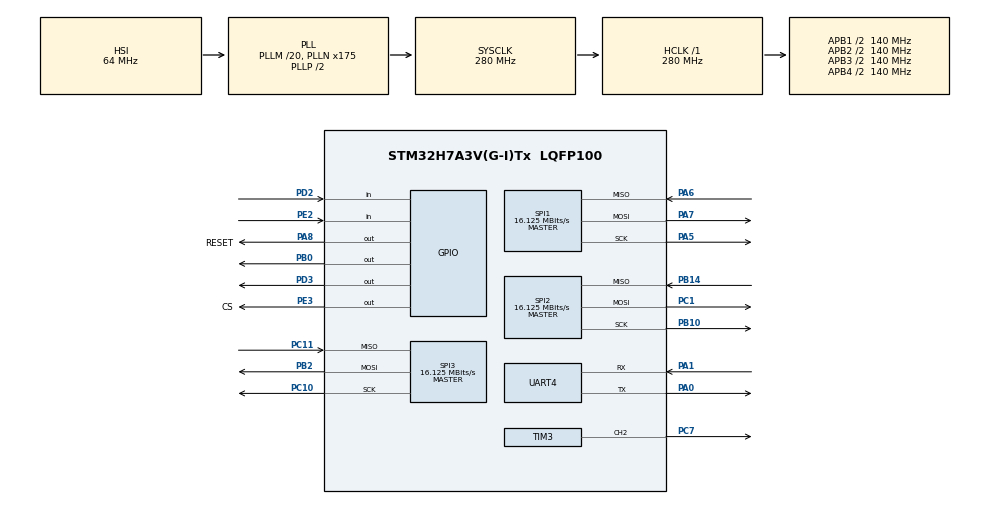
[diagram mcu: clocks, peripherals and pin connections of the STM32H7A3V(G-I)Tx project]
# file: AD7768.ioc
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Mcu.Family=STM32H7
Mcu.Name=STM32H7A3V(G-I)Tx
Mcu.Package=LQFP100
NVIC.PriorityGroup=NVIC_PRIORITYGROUP_4
PA0.Mode=Asynchronous
PA0.Signal=UART4_TX
PA1.Mode=Asynchronous
PA1.Signal=UART4_RX
PA5.Mode=Full_Duplex_Master
PA5.Signal=SPI1_SCK
PA6.Mode=Full_Duplex_Master
PA6.Signal=SPI1_MISO
PA7.Mode=Full_Duplex_Master
PA7.Signal=SPI1_MOSI
PA8.GPIO_Label=RESET
PA8.Signal=GPIO_Output
PB0.Signal=GPIO_Output
PB10.Mode=Full_Duplex_Master
PB10.Signal=SPI2_SCK
PB14.Mode=Full_Duplex_Master
PB14.Signal=SPI2_MISO
PB2.Mode=Full_Duplex_Master
PB2.Signal=SPI3_MOSI
PC1.Mode=Full_Duplex_Master
PC1.Signal=SPI2_MOSI
PC10.Mode=Full_Duplex_Master
PC10.Signal=SPI3_SCK
PC11.Mode=Full_Duplex_Master
PC11.Signal=SPI3_MISO
PC7.Signal=S_TIM3_CH2
PD2.GPIO_PuPd=GPIO_PULLUP
PD2.Signal=GPIO_Input
PD3.GPIO_PuPd=GPIO_PULLUP
PD3.GPIO_Speed=GPIO_SPEED_FREQ_HIGH
PD3.PinState=GPIO_PIN_SET
PD3.Signal=GPIO_Output
PE2.Signal=GPIO_Input
PE3.GPIO_Label=CS
PE3.Signal=GPIO_Output
ProjectManager.HeapSize=0x200
ProjectManager.StackSize=0x400
ProjectManager.TargetToolchain=STM32CubeIDE
RCC.ADCFreq_Value=129000000
RCC.APB1Freq_Value=140000000
RCC.APB2Freq_Value=140000000
RCC.APB3Freq_Value=140000000
RCC.APB4Freq_Value=140000000
RCC.CDPPRE=RCC_APB3_DIV2
RCC.CDPPRE1=RCC_APB1_DIV2
RCC.CDPPRE2=RCC_APB2_DIV2
RCC.CortexFreq_Value=280000000
RCC.DIVM1=20
RCC.DIVN1=175
RCC.HCLKFreq_Value=280000000
RCC.SPI123CLockSelection=RCC_SPI123CLKSOURCE_PLL2
RCC.SRDPPRE=RCC_APB4_DIV2
RCC.SYSCLKFreq_VALUE=280000000
RCC.SYSCLKSource=RCC_SYSCLKSOURCE_PLLCLK
RCC.USBFreq_Value=280000000
SH.S_TIM3_CH2.0=TIM3_CH2,PWM Generation2 CH2
SPI1.BaudRatePrescaler=SPI_BAUDRATEPRESCALER_8
SPI1.CLKPhase=SPI_PHASE_2EDGE
SPI1.CLKPolarity=SPI_POLARITY_HIGH
SPI1.CalculateBaudRate=16.125 MBits/s
SPI1.DataSize=SPI_DATASIZE_8BIT
SPI1.Direction=SPI_DIRECTION_2LINES
SPI1.Mode=SPI_MODE_MASTER
SPI1.VirtualType=VM_MASTER
SPI2.BaudRatePrescaler=SPI_BAUDRATEPRESCALER_8
SPI2.CLKPhase=SPI_PHASE_2EDGE
SPI2.CLKPolarity=SPI_POLARITY_HIGH
SPI2.CalculateBaudRate=16.125 MBits/s
SPI2.DataSize=SPI_DATASIZE_8BIT
SPI2.Direction=SPI_DIRECTION_2LINES
SPI2.Mode=SPI_MODE_MASTER
SPI2.NSSPMode=SPI_NSS_PULSE_DISABLE
SPI2.VirtualType=VM_MASTER
SPI3.BaudRatePrescaler=SPI_BAUDRATEPRESCALER_8
SPI3.CLKPhase=SPI_PHASE_2EDGE
SPI3.CLKPolarity=SPI_POLARITY_HIGH
SPI3.CalculateBaudRate=16.125 MBits/s
SPI3.DataSize=SPI_DATASIZE_8BIT
SPI3.Direction=SPI_DIRECTION_2LINES
SPI3.Mode=SPI_MODE_MASTER
SPI3.VirtualType=VM_MASTER
TIM3.AutoReloadPreload=TIM_AUTORELOAD_PRELOAD_ENABLE
TIM3.Channel-PWM\ Generation2\ CH2=TIM_CHANNEL_2
TIM3.Period=15
VP_TIM3_VS_ClockSourceINT.Mode=Internal
board=custom

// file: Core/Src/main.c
/* USER CODE BEGIN Header */
/**
 ******************************************************************************
 * @file           : main.c
 * @brief          : Main program body
 ******************************************************************************
 * @attention
 *
 * Copyright (c) 2024 STMicroelectronics.
 * All rights reserved.
 *
 * This software is licensed under terms that can be found in the LICENSE file
 * in the root directory of this software component.
 * If no LICENSE file comes with this software, it is provided AS-IS.
 *
 ******************************************************************************
 */
/* USER CODE END Header */
#include "main.h"

/* USER CODE BEGIN Includes */
#include "stm32h7xx_ll_spi.h"
/* USER CODE END Includes */

/* USER CODE BEGIN PD */
#define CS1_LOW 	(1 << 19)        	// port pin no.19 RESET
#define CS1_HIGH	(1 << 3)			// port pin no.3
#define REG_READ	0x40
#define REG_WRITE	0x00
#define SPI2_TXF	(SPI2->SR & (1<<1))
#define SPI2_RXF	(SPI2->SR & (1<<0))
#define ADC_DRDY	(GPIOE->IDR & (1<<2))

/* USER CODE END PD */

SPI_HandleTypeDef hspi1;
SPI_HandleTypeDef hspi2;
SPI_HandleTypeDef hspi3;

TIM_HandleTypeDef htim3;

UART_HandleTypeDef huart4;

/* USER CODE BEGIN PV */

SPI_HandleTypeDef *hspip1 = &hspi1;
SPI_HandleTypeDef *hspip2 = &hspi2;
SPI_HandleTypeDef *hspip3 = &hspi3;
uint8_t tx_data[4] = {0};
uint8_t rx_data[9] = {0};
uint32_t s_data[100]  = {0};
uint32_t tx = 0;
uint32_t rx = 0;

uint16_t read_intf = 0;
uint16_t pow_n_con = 0;
uint16_t cont_conv = 0;
uint16_t decimate = 0;
uint16_t scratch = 0;
uint16_t SPI_DIAG = 0;
uint32_t data_24 = 0;
uint16_t ADC_DIAG = 0;
uint16_t cntr = 0;

/* USER CODE END PV */

void SystemClock_Config(void);
void PeriphCommonClock_Config(void);
static void MX_GPIO_Init(void);
static void MX_SPI1_Init(void);
static void MX_SPI2_Init(void);
static void MX_TIM3_Init(void);
static void MX_UART4_Init(void);
static void MX_SPI3_Init(void);
/* USER CODE BEGIN PFP */

void SPI_rxtx(uint8_t* Txdata,uint8_t* Rxdata,uint16_t Size);
void SPI_TxRx1(const uint8_t *pTxData,uint8_t* Rxdata,uint8_t*  Size);
void SPI2_INIT(int len);
int8_t SPIM2_XFER(uint8_t *txb, uint8_t *rxb, int len);
void spi_tx_rx(SPI_HandleTypeDef *hspi,uint8_t *p8_t_data,uint8_t *p8_r_data,uint32_t u32_size);
void SPI_ll_init(void);
/* USER CODE END PFP */

int main(void)
{

  /* MCU Configuration--------------------------------------------------------*/

  /* Reset of all peripherals, Initializes the Flash interface and the Systick. */
  HAL_Init();

  /* Configure the system clock */
  SystemClock_Config();

/* Configure the peripherals common clocks */
  PeriphCommonClock_Config();

  /* Initialize all configured peripherals */
  MX_GPIO_Init();
  MX_SPI1_Init();
  MX_SPI2_Init();
  MX_TIM3_Init();
  MX_UART4_Init();
  MX_SPI3_Init();
  /* USER CODE BEGIN 2 */

//  SPI2_INIT(3);
   SPI_ll_init();
	/*** Timer 3 ch 2 --> 17 Mhz ***/
	//  TIM3->CCR2 = 8;
	//  HAL_TIM_PWM_Start(&htim3, TIM_CHANNEL_2);

	/** RESET **/
	HAL_GPIO_WritePin(GPIOD, GPIO_PIN_3, GPIO_PIN_SET);
//	  init_ad7768();

//  HAL_GPIO_WritePin(GPIOD, GPIO_PIN_3, GPIO_PIN_RESET);
//  		HAL_Delay(10);

  /* USER CODE END 2 */

  /* Infinite loop */
	while (1)
	{

    /* USER CODE BEGIN 3 */

/* RESET trigger register = 0x1D */
	tx_data[0] = 0x1D;      //for write  operation
	tx_data[1] = 0x80;		// default value
	GPIOE->BSRR |= CS1_LOW;
//	HAL_SPI_TransmitReceive(&hspi1, tx_data, rx_data, 2, HAL_MAX_DELAY);
	SPI_rxtx(tx_data, rx_data, 2);
	GPIOE->BSRR |= CS1_HIGH;

/* write interface format = 0x14*/
	tx_data[0] = 0x14;      //for write  operation
	tx_data[1] = 0x01;		// enable continuous read mode.
	GPIOE->BSRR |= CS1_LOW;
//	HAL_SPI_TransmitReceive(&hspi1, tx_data, rx_data, 2, HAL_MAX_DELAY);
	SPI_rxtx(tx_data, rx_data, 2);
	GPIOE->BSRR |= CS1_HIGH;

/* Power and clock register = 0x15 */
	tx_data[0] = 0x15;      //for write  operation
	tx_data[1] = 0x22;		// mclk/4,PWRMODE
	GPIOE->BSRR |= CS1_LOW;
//	HAL_SPI_TransmitReceive(&hspi1, tx_data, rx_data, 2, HAL_MAX_DELAY);
	SPI_rxtx(tx_data, rx_data, 2);
	GPIOE->BSRR |= CS1_HIGH;

/* Digital filter = 0x19*/
	tx_data[0] = 0x19;      //for write  operation
	tx_data[1] = 0x60;		// low FIR filter,X32
	GPIOE->BSRR |= CS1_LOW;
//	HAL_SPI_TransmitReceive(&hspi1, tx_data, rx_data, 2, HAL_MAX_DELAY);
	SPI_rxtx(tx_data, rx_data, 2);
	GPIOE->BSRR |= CS1_HIGH;

/******* SYNC PULSE *******/
	while(HAL_GPIO_ReadPin(GPIOD, GPIO_PIN_2) == 0);

//	HAL_GPIO_WritePin(GPIOD, GPIO_PIN_3, GPIO_PIN_SET);
//	HAL_Delay(1);
	HAL_GPIO_WritePin(GPIOD, GPIO_PIN_3, GPIO_PIN_RESET);
	HAL_Delay(1);
	HAL_GPIO_WritePin(GPIOD, GPIO_PIN_3, GPIO_PIN_SET);
	HAL_Delay(1);
	HAL_GPIO_WritePin(GPIOB, GPIO_PIN_0, GPIO_PIN_SET);
	HAL_Delay(10);
	HAL_UART_Transmit(&huart4, "\ninput = 1902.3\n\r", 20, HAL_MAX_DELAY);
//	HAL_SPI_TransmitReceive(&hspi1, tx_data, rx_data, 3, HAL_MAX_DELAY);
//	HAL_SPI_TransmitReceive(&hspi1, tx_data, rx_data, 3, HAL_MAX_DELAY);

while(1){

//	for(int i = 0; i < 100;i++)
//	{
		tx_data[0] = 0x00;      //for write  operation
		tx_data[1] = 0x00;
		tx_data[1] = 0x00;

		while(HAL_GPIO_ReadPin(GPIOD, GPIO_PIN_2) == 1){};
		{
			HAL_SPI_Abort(&hspi1);
			SPI_rxtx(tx_data, rx_data, 3);
//			data_24 = ((rx_data[0] << 16) |(rx_data[3] << 8) | rx_data[6]);
			data_24 = ((rx_data[0] << 16) |(rx_data[1] << 8) | rx_data[2]);
//			sprintf(s_data,"%d, ",data_24);
//			HAL_UART_Transmit(&huart4, s_data, 15, HAL_MAX_DELAY);

		}
//		sprintf(s_data,"%d, ",data_24);
//					HAL_UART_Transmit(&huart4, s_data, 15, HAL_MAX_DELAY);
//		HAL_Delay(50);
//	}
//for(;;);

//	uint8_t data = 0x00;
//	tx_data[0] = 0x00;      //for write  operation
//	tx_data[1] = 0x00;
//	tx_data[1] = 0x00;
//
//	while(HAL_GPIO_ReadPin(GPIOD, GPIO_PIN_2) == 1)
//	{
//		HAL_SPI_Abort(&hspi1);
//		SPI_rxtx(tx_data, rx_data, 3);
//
//		data_24 = ((rx_data[0] << 16) |(rx_data[1] << 8) | rx_data[2]);
//		sprintf(s_data,"%d, ",data_24);
//		HAL_UART_Transmit(&huart4, s_data, 15, HAL_MAX_DELAY);
//		data++;
//		if(data > 100){
//			for(;;);
//			break;
//		}

//	}
HAL_Delay(50);
////GPIOE->BSRR |= CS1_HIGH;
//}
////}
//
}

	}
  /* USER CODE END 3 */
}

void SystemClock_Config(void)
{
  RCC_OscInitTypeDef RCC_OscInitStruct = {0};
  RCC_ClkInitTypeDef RCC_ClkInitStruct = {0};

  /*AXI clock gating */
  RCC->CKGAENR = 0xFFFFFFFF;

  /** Supply configuration update enable
  */
  HAL_PWREx_ConfigSupply(PWR_LDO_SUPPLY);

  /** Configure the main internal regulator output voltage
  */
  __HAL_PWR_VOLTAGESCALING_CONFIG(PWR_REGULATOR_VOLTAGE_SCALE0);

  while(!__HAL_PWR_GET_FLAG(PWR_FLAG_VOSRDY)) {}

  /** Initializes the RCC Oscillators according to the specified parameters
  * in the RCC_OscInitTypeDef structure.
  */
  RCC_OscInitStruct.OscillatorType = RCC_OSCILLATORTYPE_HSI;
  RCC_OscInitStruct.HSIState = RCC_HSI_DIV1;
  RCC_OscInitStruct.HSICalibrationValue = 64;
  RCC_OscInitStruct.PLL.PLLState = RCC_PLL_ON;
  RCC_OscInitStruct.PLL.PLLSource = RCC_PLLSOURCE_HSI;
  RCC_OscInitStruct.PLL.PLLM = 20;
  RCC_OscInitStruct.PLL.PLLN = 175;
  RCC_OscInitStruct.PLL.PLLP = 2;
  RCC_OscInitStruct.PLL.PLLQ = 2;
  RCC_OscInitStruct.PLL.PLLR = 2;
  RCC_OscInitStruct.PLL.PLLRGE = RCC_PLL1VCIRANGE_1;
  RCC_OscInitStruct.PLL.PLLVCOSEL = RCC_PLL1VCOWIDE;
  RCC_OscInitStruct.PLL.PLLFRACN = 0;
  if (HAL_RCC_OscConfig(&RCC_OscInitStruct) != HAL_OK)
  {
    Error_Handler();
  }

  /** Initializes the CPU, AHB and APB buses clocks
  */
  RCC_ClkInitStruct.ClockType = RCC_CLOCKTYPE_HCLK|RCC_CLOCKTYPE_SYSCLK
                              |RCC_CLOCKTYPE_PCLK1|RCC_CLOCKTYPE_PCLK2
                              |RCC_CLOCKTYPE_D3PCLK1|RCC_CLOCKTYPE_D1PCLK1;
  RCC_ClkInitStruct.SYSCLKSource = RCC_SYSCLKSOURCE_PLLCLK;
  RCC_ClkInitStruct.SYSCLKDivider = RCC_SYSCLK_DIV1;
  RCC_ClkInitStruct.AHBCLKDivider = RCC_HCLK_DIV1;
  RCC_ClkInitStruct.APB3CLKDivider = RCC_APB3_DIV2;
  RCC_ClkInitStruct.APB1CLKDivider = RCC_APB1_DIV2;
  RCC_ClkInitStruct.APB2CLKDivider = RCC_APB2_DIV2;
  RCC_ClkInitStruct.APB4CLKDivider = RCC_APB4_DIV2;

  if (HAL_RCC_ClockConfig(&RCC_ClkInitStruct, FLASH_LATENCY_6) != HAL_OK)
  {
    Error_Handler();
  }
}

void PeriphCommonClock_Config(void)
{
  RCC_PeriphCLKInitTypeDef PeriphClkInitStruct = {0};

  /** Initializes the peripherals clock
  */
  PeriphClkInitStruct.PeriphClockSelection = RCC_PERIPHCLK_SPI3|RCC_PERIPHCLK_SPI2
                              |RCC_PERIPHCLK_SPI1;
  PeriphClkInitStruct.PLL2.PLL2M = 32;
  PeriphClkInitStruct.PLL2.PLL2N = 129;
  PeriphClkInitStruct.PLL2.PLL2P = 2;
  PeriphClkInitStruct.PLL2.PLL2Q = 2;
  PeriphClkInitStruct.PLL2.PLL2R = 2;
  PeriphClkInitStruct.PLL2.PLL2RGE = RCC_PLL2VCIRANGE_1;
  PeriphClkInitStruct.PLL2.PLL2VCOSEL = RCC_PLL2VCOWIDE;
  PeriphClkInitStruct.PLL2.PLL2FRACN = 0;
  PeriphClkInitStruct.Spi123ClockSelection = RCC_SPI123CLKSOURCE_PLL2;
  if (HAL_RCCEx_PeriphCLKConfig(&PeriphClkInitStruct) != HAL_OK)
  {
    Error_Handler();
  }
}

static void MX_SPI1_Init(void)
{

  /* SPI1 parameter configuration*/
  hspi1.Instance = SPI1;
  hspi1.Init.Mode = SPI_MODE_MASTER;
  hspi1.Init.Direction = SPI_DIRECTION_2LINES;
  hspi1.Init.DataSize = SPI_DATASIZE_8BIT;
  hspi1.Init.CLKPolarity = SPI_POLARITY_HIGH;
  hspi1.Init.CLKPhase = SPI_PHASE_2EDGE;
  hspi1.Init.NSS = SPI_NSS_SOFT;
  hspi1.Init.BaudRatePrescaler = SPI_BAUDRATEPRESCALER_8;
  hspi1.Init.FirstBit = SPI_FIRSTBIT_MSB;
  hspi1.Init.TIMode = SPI_TIMODE_DISABLE;
  hspi1.Init.CRCCalculation = SPI_CRCCALCULATION_DISABLE;
  hspi1.Init.CRCPolynomial = 0x0;
  hspi1.Init.NSSPMode = SPI_NSS_PULSE_ENABLE;
  hspi1.Init.NSSPolarity = SPI_NSS_POLARITY_LOW;
  hspi1.Init.FifoThreshold = SPI_FIFO_THRESHOLD_01DATA;
  hspi1.Init.TxCRCInitializationPattern = SPI_CRC_INITIALIZATION_ALL_ZERO_PATTERN;
  hspi1.Init.RxCRCInitializationPattern = SPI_CRC_INITIALIZATION_ALL_ZERO_PATTERN;
  hspi1.Init.MasterSSIdleness = SPI_MASTER_SS_IDLENESS_00CYCLE;
  hspi1.Init.MasterInterDataIdleness = SPI_MASTER_INTERDATA_IDLENESS_00CYCLE;
  hspi1.Init.MasterReceiverAutoSusp = SPI_MASTER_RX_AUTOSUSP_DISABLE;
  hspi1.Init.MasterKeepIOState = SPI_MASTER_KEEP_IO_STATE_DISABLE;
  hspi1.Init.IOSwap = SPI_IO_SWAP_DISABLE;
  if (HAL_SPI_Init(&hspi1) != HAL_OK)
  {
    Error_Handler();
  }

}

static void MX_SPI2_Init(void)
{

  /* SPI2 parameter configuration*/
  hspi2.Instance = SPI2;
  hspi2.Init.Mode = SPI_MODE_MASTER;
  hspi2.Init.Direction = SPI_DIRECTION_2LINES;
  hspi2.Init.DataSize = SPI_DATASIZE_8BIT;
  hspi2.Init.CLKPolarity = SPI_POLARITY_HIGH;
  hspi2.Init.CLKPhase = SPI_PHASE_2EDGE;
  hspi2.Init.NSS = SPI_NSS_SOFT;
  hspi2.Init.BaudRatePrescaler = SPI_BAUDRATEPRESCALER_8;
  hspi2.Init.FirstBit = SPI_FIRSTBIT_MSB;
  hspi2.Init.TIMode = SPI_TIMODE_DISABLE;
  hspi2.Init.CRCCalculation = SPI_CRCCALCULATION_DISABLE;
  hspi2.Init.CRCPolynomial = 0x0;
  hspi2.Init.NSSPMode = SPI_NSS_PULSE_DISABLE;
  hspi2.Init.NSSPolarity = SPI_NSS_POLARITY_LOW;
  hspi2.Init.FifoThreshold = SPI_FIFO_THRESHOLD_01DATA;
  hspi2.Init.TxCRCInitializationPattern = SPI_CRC_INITIALIZATION_ALL_ZERO_PATTERN;
  hspi2.Init.RxCRCInitializationPattern = SPI_CRC_INITIALIZATION_ALL_ZERO_PATTERN;
  hspi2.Init.MasterSSIdleness = SPI_MASTER_SS_IDLENESS_00CYCLE;
  hspi2.Init.MasterInterDataIdleness = SPI_MASTER_INTERDATA_IDLENESS_00CYCLE;
  hspi2.Init.MasterReceiverAutoSusp = SPI_MASTER_RX_AUTOSUSP_DISABLE;
  hspi2.Init.MasterKeepIOState = SPI_MASTER_KEEP_IO_STATE_DISABLE;
  hspi2.Init.IOSwap = SPI_IO_SWAP_DISABLE;
  if (HAL_SPI_Init(&hspi2) != HAL_OK)
  {
    Error_Handler();
  }

}

static void MX_SPI3_Init(void)
{

  /* SPI3 parameter configuration*/
  hspi3.Instance = SPI3;
  hspi3.Init.Mode = SPI_MODE_MASTER;
  hspi3.Init.Direction = SPI_DIRECTION_2LINES;
  hspi3.Init.DataSize = SPI_DATASIZE_8BIT;
  hspi3.Init.CLKPolarity = SPI_POLARITY_HIGH;
  hspi3.Init.CLKPhase = SPI_PHASE_2EDGE;
  hspi3.Init.NSS = SPI_NSS_SOFT;
  hspi3.Init.BaudRatePrescaler = SPI_BAUDRATEPRESCALER_8;
  hspi3.Init.FirstBit = SPI_FIRSTBIT_MSB;
  hspi3.Init.TIMode = SPI_TIMODE_DISABLE;
  hspi3.Init.CRCCalculation = SPI_CRCCALCULATION_DISABLE;
  hspi3.Init.CRCPolynomial = 0x0;
  hspi3.Init.NSSPMode = SPI_NSS_PULSE_ENABLE;
  hspi3.Init.NSSPolarity = SPI_NSS_POLARITY_LOW;
  hspi3.Init.FifoThreshold = SPI_FIFO_THRESHOLD_01DATA;
  hspi3.Init.TxCRCInitializationPattern = SPI_CRC_INITIALIZATION_ALL_ZERO_PATTERN;
  hspi3.Init.RxCRCInitializationPattern = SPI_CRC_INITIALIZATION_ALL_ZERO_PATTERN;
  hspi3.Init.MasterSSIdleness = SPI_MASTER_SS_IDLENESS_00CYCLE;
  hspi3.Init.MasterInterDataIdleness = SPI_MASTER_INTERDATA_IDLENESS_00CYCLE;
  hspi3.Init.MasterReceiverAutoSusp = SPI_MASTER_RX_AUTOSUSP_DISABLE;
  hspi3.Init.MasterKeepIOState = SPI_MASTER_KEEP_IO_STATE_DISABLE;
  hspi3.Init.IOSwap = SPI_IO_SWAP_DISABLE;
  if (HAL_SPI_Init(&hspi3) != HAL_OK)
  {
    Error_Handler();
  }

}

static void MX_TIM3_Init(void)
{

  TIM_ClockConfigTypeDef sClockSourceConfig = {0};
  TIM_MasterConfigTypeDef sMasterConfig = {0};
  TIM_OC_InitTypeDef sConfigOC = {0};

  htim3.Instance = TIM3;
  htim3.Init.Prescaler = 0;
  htim3.Init.CounterMode = TIM_COUNTERMODE_UP;
  htim3.Init.Period = 15;
  htim3.Init.ClockDivision = TIM_CLOCKDIVISION_DIV1;
  htim3.Init.AutoReloadPreload = TIM_AUTORELOAD_PRELOAD_ENABLE;
  if (HAL_TIM_Base_Init(&htim3) != HAL_OK)
  {
    Error_Handler();
  }
  sClockSourceConfig.ClockSource = TIM_CLOCKSOURCE_INTERNAL;
  if (HAL_TIM_ConfigClockSource(&htim3, &sClockSourceConfig) != HAL_OK)
  {
    Error_Handler();
  }
  if (HAL_TIM_PWM_Init(&htim3) != HAL_OK)
  {
    Error_Handler();
  }
  sMasterConfig.MasterOutputTrigger = TIM_TRGO_RESET;
  sMasterConfig.MasterSlaveMode = TIM_MASTERSLAVEMODE_DISABLE;
  if (HAL_TIMEx_MasterConfigSynchronization(&htim3, &sMasterConfig) != HAL_OK)
  {
    Error_Handler();
  }
  sConfigOC.OCMode = TIM_OCMODE_PWM1;
  sConfigOC.Pulse = 0;
  sConfigOC.OCPolarity = TIM_OCPOLARITY_HIGH;
  sConfigOC.OCFastMode = TIM_OCFAST_DISABLE;
  if (HAL_TIM_PWM_ConfigChannel(&htim3, &sConfigOC, TIM_CHANNEL_2) != HAL_OK)
  {
    Error_Handler();
  }
  HAL_TIM_MspPostInit(&htim3);

}

static void MX_UART4_Init(void)
{

  huart4.Instance = UART4;
  huart4.Init.BaudRate = 115200;
  huart4.Init.WordLength = UART_WORDLENGTH_8B;
  huart4.Init.StopBits = UART_STOPBITS_1;
  huart4.Init.Parity = UART_PARITY_NONE;
  huart4.Init.Mode = UART_MODE_TX_RX;
  huart4.Init.HwFlowCtl = UART_HWCONTROL_NONE;
  huart4.Init.OverSampling = UART_OVERSAMPLING_16;
  huart4.Init.OneBitSampling = UART_ONE_BIT_SAMPLE_DISABLE;
  huart4.Init.ClockPrescaler = UART_PRESCALER_DIV1;
  huart4.AdvancedInit.AdvFeatureInit = UART_ADVFEATURE_NO_INIT;
  if (HAL_UART_Init(&huart4) != HAL_OK)
  {
    Error_Handler();
  }
  if (HAL_UARTEx_SetTxFifoThreshold(&huart4, UART_TXFIFO_THRESHOLD_1_8) != HAL_OK)
  {
    Error_Handler();
  }
  if (HAL_UARTEx_SetRxFifoThreshold(&huart4, UART_RXFIFO_THRESHOLD_1_8) != HAL_OK)
  {
    Error_Handler();
  }
  if (HAL_UARTEx_DisableFifoMode(&huart4) != HAL_OK)
  {
    Error_Handler();
  }

}

static void MX_GPIO_Init(void)
{
  GPIO_InitTypeDef GPIO_InitStruct = {0};

  /* GPIO Ports Clock Enable */
  __HAL_RCC_GPIOE_CLK_ENABLE();
  __HAL_RCC_GPIOC_CLK_ENABLE();
  __HAL_RCC_GPIOA_CLK_ENABLE();
  __HAL_RCC_GPIOB_CLK_ENABLE();
  __HAL_RCC_GPIOD_CLK_ENABLE();

  /*Configure GPIO pin Output Level */
  HAL_GPIO_WritePin(CS_GPIO_Port, CS_Pin, GPIO_PIN_RESET);

  /*Configure GPIO pin Output Level */
  HAL_GPIO_WritePin(GPIOB, GPIO_PIN_0, GPIO_PIN_RESET);

  /*Configure GPIO pin Output Level */
  HAL_GPIO_WritePin(RESET_GPIO_Port, RESET_Pin, GPIO_PIN_RESET);

  /*Configure GPIO pin Output Level */
  HAL_GPIO_WritePin(GPIOD, GPIO_PIN_3, GPIO_PIN_SET);

  /*Configure GPIO pin : PE2 */
  GPIO_InitStruct.Pin = GPIO_PIN_2;
  GPIO_InitStruct.Mode = GPIO_MODE_INPUT;
  GPIO_InitStruct.Pull = GPIO_NOPULL;
  HAL_GPIO_Init(GPIOE, &GPIO_InitStruct);

  /*Configure GPIO pin : CS_Pin */
  GPIO_InitStruct.Pin = CS_Pin;
  GPIO_InitStruct.Mode = GPIO_MODE_OUTPUT_PP;
  GPIO_InitStruct.Pull = GPIO_NOPULL;
  GPIO_InitStruct.Speed = GPIO_SPEED_FREQ_LOW;
  HAL_GPIO_Init(CS_GPIO_Port, &GPIO_InitStruct);

  /*Configure GPIO pin : PB0 */
  GPIO_InitStruct.Pin = GPIO_PIN_0;
  GPIO_InitStruct.Mode = GPIO_MODE_OUTPUT_PP;
  GPIO_InitStruct.Pull = GPIO_NOPULL;
  GPIO_InitStruct.Speed = GPIO_SPEED_FREQ_LOW;
  HAL_GPIO_Init(GPIOB, &GPIO_InitStruct);

  /*Configure GPIO pin : RESET_Pin */
  GPIO_InitStruct.Pin = RESET_Pin;
  GPIO_InitStruct.Mode = GPIO_MODE_OUTPUT_PP;
  GPIO_InitStruct.Pull = GPIO_NOPULL;
  GPIO_InitStruct.Speed = GPIO_SPEED_FREQ_LOW;
  HAL_GPIO_Init(RESET_GPIO_Port, &GPIO_InitStruct);

  /*Configure GPIO pin : PD2 */
  GPIO_InitStruct.Pin = GPIO_PIN_2;
  GPIO_InitStruct.Mode = GPIO_MODE_INPUT;
  GPIO_InitStruct.Pull = GPIO_PULLUP;
  HAL_GPIO_Init(GPIOD, &GPIO_InitStruct);

  /*Configure GPIO pin : PD3 */
  GPIO_InitStruct.Pin = GPIO_PIN_3;
  GPIO_InitStruct.Mode = GPIO_MODE_OUTPUT_PP;
  GPIO_InitStruct.Pull = GPIO_PULLUP;
  GPIO_InitStruct.Speed = GPIO_SPEED_FREQ_HIGH;
  HAL_GPIO_Init(GPIOD, &GPIO_InitStruct);

}

/* USER CODE BEGIN 4 */
void init_ad7768(void)
{
	HAL_GPIO_WritePin(GPIOA, GPIO_PIN_8, GPIO_PIN_SET);
	HAL_Delay(1);
	HAL_GPIO_WritePin(GPIOA, GPIO_PIN_8, GPIO_PIN_RESET);
	HAL_Delay(100);
	HAL_GPIO_WritePin(GPIOA, GPIO_PIN_8, GPIO_PIN_SET);
	HAL_Delay(10);

}

void SPI_rxtx(uint8_t* Txdata,uint8_t* Rxdata,uint16_t Size)
{
	GPIOE->BSRR |= CS1_LOW;

//		LL_SPI_Enable(SPI1);
//		LL_SPI_Enable(SPI2);
//		LL_SPI_Enable(SPI3);
		LL_SPI_StartMasterTransfer(SPI1);
		LL_SPI_StartMasterTransfer(SPI2);
		LL_SPI_StartMasterTransfer(SPI3);
		for(int i=0;i<Size;i++)
		{
			while(!(LL_SPI_IsActiveFlag_TXP(SPI1) | LL_SPI_IsActiveFlag_TXP(SPI2) | LL_SPI_IsActiveFlag_TXP(SPI3)));
//			*((__IO uint8_t*)&SPI1->TXDR) = (uint8_t*)Txdata++;
//			*((__IO uint8_t*)&SPI1->TXDR) = *((__IO uint8_t*)&SPI2->TXDR) = *((__IO uint8_t*)&SPI3->TXDR) = (uint8_t*)0x00;
			*((__IO uint8_t*)&SPI1->TXDR) = (uint8_t*)0x00;
			*((__IO uint8_t*)&SPI2->TXDR) = (uint8_t*)0x11;
			*((__IO uint8_t*)&SPI3->TXDR) = (uint8_t*)0x22;
			while(!(LL_SPI_IsActiveFlag_RXP(SPI1) | LL_SPI_IsActiveFlag_RXP(SPI2) | LL_SPI_IsActiveFlag_RXP(SPI3)));
			*Rxdata++ = LL_SPI_ReceiveData8(SPI1);
			*Rxdata++ = LL_SPI_ReceiveData8(SPI2);
			*Rxdata++ = LL_SPI_ReceiveData8(SPI3);

		}

		LL_SPI_ClearFlag_EOT(SPI1);
		LL_SPI_ClearFlag_EOT(SPI2);
		LL_SPI_ClearFlag_EOT(SPI3);
	GPIOE->BSRR |= CS1_HIGH;
//	HAL_Delay(1);
}

void SPI_ll_init(void)
{
	LL_SPI_Enable(SPI1);
	LL_SPI_Enable(SPI2);
	LL_SPI_Enable(SPI3);
}

void SPI_TxRx1(const uint8_t *pTxData,uint8_t* Rxdata,uint8_t*  Size)
{
	GPIOE->BSRR |= CS1_LOW;
//	HAL_Delay(1);

	hspip1->State 		= HAL_SPI_STATE_BUSY_TX_RX;
	hspip1->ErrorCode	= HAL_SPI_ERROR_NONE;
	hspip1->pRxBuffPtr  = (uint8_t*)Rxdata;
	hspip1->pTxBuffPtr 	= (const uint8_t*)pTxData;
	hspip1->TxXferSize  = Size;

	SPI1->CR1 |= (1 << 0);
	//LL_SPI_SetDataWidth(SPI1,LL_SPI_DATAWIDTH_8BIT );

		while(Size > 0 )
		{
			SPI1->CR2 = 0x01;
				SPI1->CR1 |= (1 << 9);

//	int temp = SPI1->SR & (1<<1);
			if(SPI1->SR & (1<<1))
			{
				SPI1->TXDR = *((const uint32_t*)hspip1->pTxBuffPtr);

			if(SPI1->SR & (1<<1))
			{
				*Rxdata = *((__IO uint8_t*)&hspip1->Instance->RXDR);
			}

			Rxdata++;
			Size--;
			for(int i= 0;i<20;i++);
			}

	}

		SPI1->IFCR |= SPI_IFCR_TXTFC | SPI_IFCR_EOTC ;			// set EOTC
					SPI1->CR1 &= ~(1 << 0);

    GPIOE->BSRR |= CS1_HIGH;
    HAL_Delay(1);
  }

void spi_tx_rx(SPI_HandleTypeDef *hspi,uint8_t *p8_t_data,uint8_t *p8_r_data,uint32_t u32_size)
{
      uint16_t   initial_TxXferCount;
      uint16_t   initial_RxXferCount;

      initial_TxXferCount = u32_size;
      initial_RxXferCount = u32_size;

      /* Set the transaction information */
      hspi->State       = HAL_SPI_STATE_BUSY_TX_RX;
      hspi->ErrorCode   = HAL_SPI_ERROR_NONE;
      hspi->pRxBuffPtr  = (uint8_t *)p8_r_data;
      hspi->pTxBuffPtr  = (const uint8_t *)p8_t_data;

      hspi->RxXferCount = u32_size;
      hspi->RxXferSize  = u32_size;

      hspi->TxXferCount = u32_size;
      hspi->TxXferSize  = u32_size;

      /*Init field not used in handle to zero */
      hspi->RxISR       = NULL;
      hspi->TxISR       = NULL;

      __HAL_SPI_DISABLE(hspi);

      SPI_2LINES(hspi);

      //__HAL_SPI_DISABLE(hspi);

      MODIFY_REG(hspi->Instance->CR2, SPI_CR2_TSIZE, u32_size);

      __HAL_SPI_ENABLE(hspi);

      SET_BIT(hspi->Instance->CR1, SPI_CR1_CSTART);

      while ((initial_TxXferCount > 0UL) /*|| (initial_RxXferCount > 0UL)*/)
      {
          /* Check the TXP flag */
          if ((__HAL_SPI_GET_FLAG(hspi, SPI_FLAG_TXP)) && (initial_TxXferCount > 0UL))
          {
            *((__IO uint8_t *)&hspi->Instance->TXDR) = *((const uint8_t *)hspi->pTxBuffPtr);
            hspi->pTxBuffPtr += sizeof(uint8_t);
            hspi->TxXferCount--;
            initial_TxXferCount = hspi->TxXferCount;
          }

          /* Check the RXP flag */
          if ((__HAL_SPI_GET_FLAG(hspi, SPI_FLAG_RXP)) && (initial_RxXferCount > 0UL))
          {
            *((uint8_t *)hspi->pRxBuffPtr) = *((__IO uint8_t *)&hspi->Instance->RXDR);
            hspi->pRxBuffPtr += sizeof(uint8_t);
            hspi->RxXferCount--;
            initial_RxXferCount = hspi->RxXferCount;
          }
      }

      __HAL_SPI_CLEAR_EOTFLAG(hspi);
      __HAL_SPI_CLEAR_TXTFFLAG(hspi);

      __HAL_SPI_DISABLE(hspi);

      __HAL_SPI_DISABLE_IT(hspi, (SPI_IT_EOT | SPI_IT_TXP | SPI_IT_RXP | SPI_IT_DXP | SPI_IT_UDR | SPI_IT_OVR | \
                                  SPI_IT_FRE | SPI_IT_MODF));

      __HAL_SPI_CLEAR_MODFFLAG(hspi);

      __HAL_SPI_CLEAR_FREFLAG(hspi);

//      SPI_CloseTransfer(hspi);

}

/* USER CODE END 4 */

void Error_Handler(void)
{
  /* USER CODE BEGIN Error_Handler_Debug */
	/* User can add his own implementation to report the HAL error return state */
	__disable_irq();

	TIM_ClockConfigTypeDef sClockSourceConfig = {0};
	TIM_MasterConfigTypeDef sMasterConfig = {0};
	TIM_OC_InitTypeDef sConfigOC = {0};

	/* USER CODE BEGIN TIM3_Init 1 */

	while (1)
	{
	}
  /* USER CODE END Error_Handler_Debug */
}
